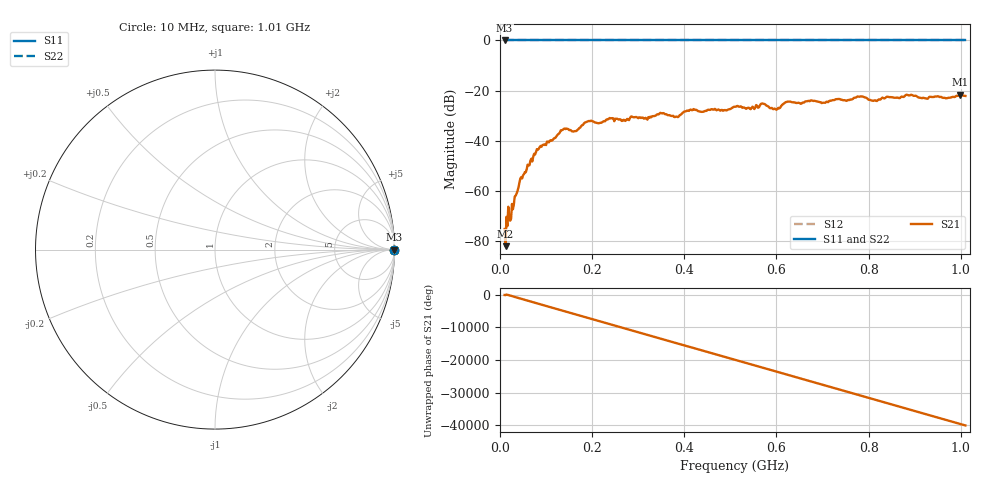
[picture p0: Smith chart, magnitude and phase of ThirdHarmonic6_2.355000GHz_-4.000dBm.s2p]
! 8/17/2025 3:34:30 AM
! C:\ANRITSUVNA\TEMP\TEMP.S2P
! CHANNEL.1
! TR.MEASUREMENT
! RAW.DATA
! RF.CORRECTION.OFF
! AVERAGING.OFF
! IF.BANDWIDTH: 5KHZ
! SWEEPTYPE:  FREQ.SWEEP(Linear)
! Reference Plane Port Info
! PORT:  PORT1  PORT2
! DISTANCE:  0  m  0  m
! TIME:  0  s  0  s
! PHASE.OFFSET:  0  deg.  0  deg.
! LOSS:  0  dB  0  dB
! REF.LOSS:  0  dB  0  dB
! REF.FREQ:  0  Hz  0  Hz
! Power Info
! POWER:  -20  dBm  -20  dBm
! EFF.POWER:  -20  dBm  -20  dBm
! SOURCE.ATTEN:  0  dB  0  dB
! TEST.ATTEN:  0  dB  0  dB
# GHZ S RI R 50.0
! FREQ.GHZ  S11RE  S11IM  S21RE  S21IM  S12RE  S12IM  S22RE  S22IM
!; PortSelection: Port_12
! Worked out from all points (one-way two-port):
!   501 points, 10 MHz to 1.01 GHz, reference 50 ohm
!   highest |S21| = -21.55 dB at 998 MHz (marker M1); lowest = -81.9 dB at 12 MHz (marker M2)
!   lowest |S11| = 0.0 dB at 10 MHz (marker M3)
!   |S11| at or under -10 dB: nowhere
!   |S22| runs from 0.0 to 0.0 dB; largest |S21 - S12| = 1.1
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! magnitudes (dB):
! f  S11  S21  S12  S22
! 10 MHz  0.0  -75.0  0.0  0.0
! 12 MHz  0.0  -81.9  0.0  0.0
! 18 MHz  0.0  -66.2  0.0  0.0
! 26 MHz  0.0  -65.1  0.0  0.0
! 46 MHz  0.0  -54.4  0.0  0.0
! 84 MHz  0.0  -43.1  0.0  0.0
! 136 MHz  0.0  -35.6  0.0  0.0
! 162 MHz  0.0  -36.1  0.0  0.0
! 178 MHz  0.0  -33.8  0.0  0.0
! 194 MHz  0.0  -32.1  0.0  0.0
! 316 MHz  0.0  -30.8  0.0  0.0
! 344 MHz  0.0  -29.4  0.0  0.0
! 382 MHz  0.0  -30.3  0.0  0.0
! 416 MHz  0.0  -27.7  0.0  0.0
! 510 MHz  0.0  -26.4  0.0  0.0
! 570 MHz  0.0  -25.1  0.0  0.0
! 598 MHz  0.0  -27.3  0.0  0.0
! 624 MHz  0.0  -24.3  0.0  0.0
! 678 MHz  0.0  -23.9  0.0  0.0
! 844 MHz  0.0  -22.5  0.0  0.0
! 998 MHz  0.0  -21.5  0.0  0.0
! 1.01 GHz  0.0  -22.1  0.0  0.0
